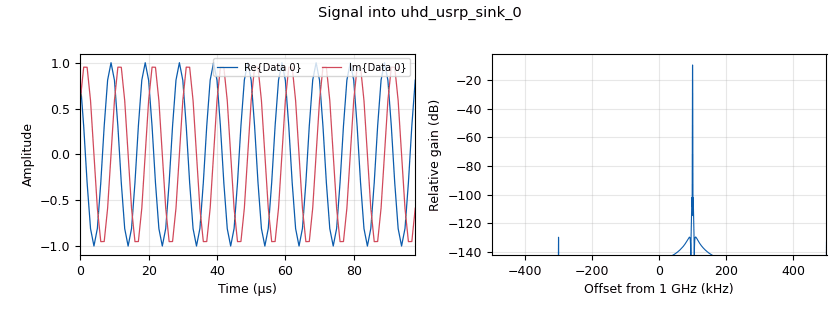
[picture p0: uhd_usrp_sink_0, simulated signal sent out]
options:
  parameters:
    generate_options: no_gui
    id: freq_gen
    output_language: python
    title: Not titled yet
  states: {}

blocks:
- name: freq_Hz
  id: variable
  parameters:
    value: '1000000000'
  states: {}
- name: samp_rate
  id: variable
  parameters:
    value: '1000000'
  states: {}
- name: tx_gain
  id: variable
  parameters:
    value: '30'
  states: {}
- name: analog_sig_source_x_0
  id: analog_sig_source_x
  parameters:
    amp: '1'
    freq: '100000'
    offset: '0'
    phase: '0'
    samp_rate: samp_rate
    type: complex
    waveform: analog.GR_SIN_WAVE
  states: {}
- name: uhd_usrp_sink_0
  id: uhd_usrp_sink
  parameters:
    ant0: TX/RX
    center_freq0: freq_Hz
    dev_args: '""'
    gain0: tx_gain
    len_tag_name: ''
    norm_gain0: 'False'
    samp_rate: samp_rate
    sync: sync
    type: fc32
  states: {}

connections:
- [analog_sig_source_x_0, '0', uhd_usrp_sink_0, '0']

metadata:
  file_format: 1
